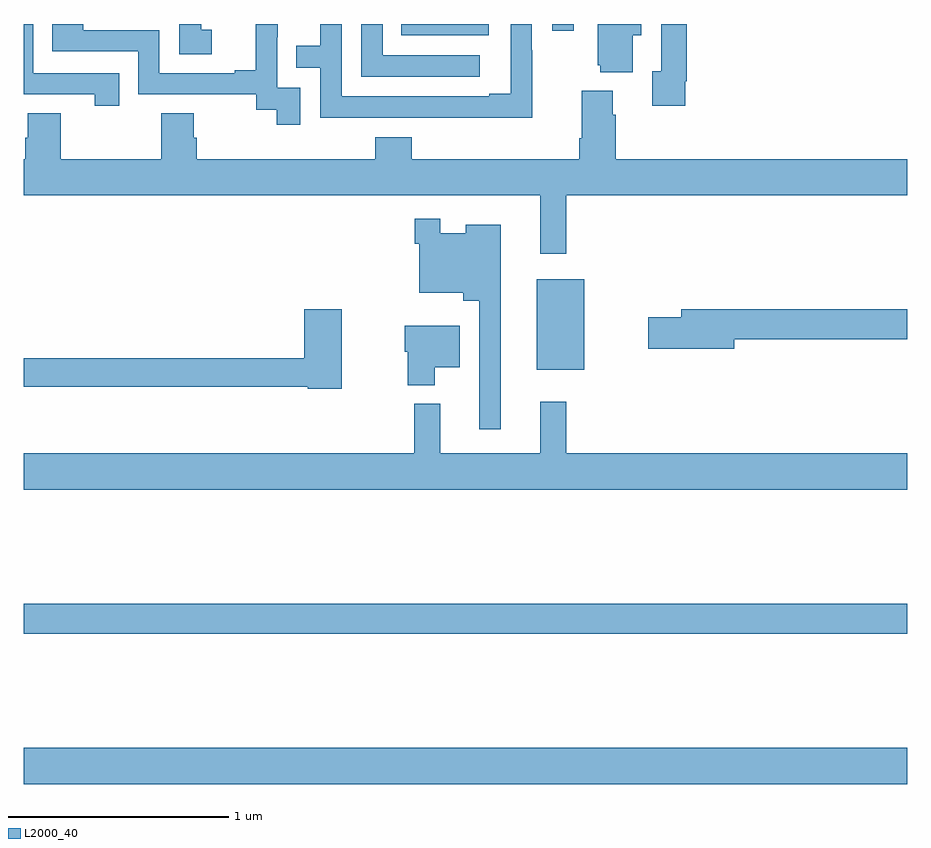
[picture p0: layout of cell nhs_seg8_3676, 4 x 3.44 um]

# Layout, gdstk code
import gdstk
lib = gdstk.Library(unit=1e-6, precision=1e-09)
def R(c, l, rs):  # rectangles x0, y0, x1, y1
    for r in rs: c.add(gdstk.rectangle(r[:2], r[2:], *l))
def P(c, l, *ps):  # polygons
    for p in ps: c.add(gdstk.Polygon(p, *l))
L2000_40 = (2000, 40)

nhs_seg8_3676 = lib.new_cell('nhs_seg8_3676')
R(nhs_seg8_3676, L2000_40, [(337,1156.46,341,1156.624), (337,1157.14,341,1157.276), (339.323,1158.335,339.538,1158.745), (338.71,1159.85,339.106,1159.9), (339.393,1159.869,339.489,1159.9)])
P(nhs_seg8_3676, L2000_40, [(337.852,1159.873),(337.803,1159.873),(337.803,1159.9),(337.704,1159.9),(337.704,1159.764),(337.852,1159.764)],
  [(338.253,1159.611),(338.148,1159.611),(338.148,1159.841),(338.15,1159.841),(338.15,1159.9),(338.051,1159.9),(338.051,1159.69),(337.955,1159.69),(337.955,1159.677),(337.614,1159.677),(337.614,1159.872),(337.269,1159.872),(337.269,1159.899),(337.129,1159.899),(337.129,1159.776),(337.518,1159.776),(337.518,1159.581),(338.052,1159.581),(338.052,1159.513),(338.145,1159.513),(338.145,1159.443),(338.253,1159.443)],
  [(337.433,1159.677),(337.044,1159.677),(337.044,1159.9),(337,1159.9),(337,1159.581),(337.322,1159.581),(337.322,1159.53),(337.433,1159.53)],
  [(339.994,1159.642),(340.001,1159.642),(340.001,1159.9),(339.885,1159.9),(339.885,1159.686),(339.845,1159.686),(339.845,1159.53),(339.994,1159.53)],
  [(339.303,1159.781),(339.3,1159.781),(339.3,1159.9),(339.204,1159.9),(339.204,1159.585),(339.107,1159.585),(339.107,1159.572),(338.439,1159.572),(338.439,1159.9),(338.343,1159.9),(338.343,1159.802),(338.233,1159.802),(338.233,1159.701),(338.343,1159.701),(338.343,1159.476),(338.839,1159.476),(338.839,1159.475),(339.303,1159.475)],
  [(339.064,1159.758),(338.625,1159.758),(338.625,1159.9),(338.529,1159.9),(338.529,1159.662),(339.064,1159.662)],
  [(339.757,1159.85),(339.796,1159.85),(339.796,1159.9),(339.599,1159.9),(339.599,1159.713),(339.611,1159.713),(339.611,1159.682),(339.757,1159.682)],
  [(341,1159.288),(339.68,1159.288),(339.68,1159.49),(339.667,1159.49),(339.667,1159.597),(339.527,1159.597),(339.527,1159.384),(339.515,1159.384),(339.515,1159.288),(338.756,1159.288),(338.756,1159.387),(338.591,1159.387),(338.591,1159.288),(337.784,1159.288),(337.784,1159.386),(337.771,1159.386),(337.771,1159.496),(337.624,1159.496),(337.624,1159.288),(337.167,1159.288),(337.167,1159.496),(337.019,1159.496),(337.019,1159.386),(337.007,1159.386),(337.007,1159.288),(337,1159.288),(337,1159.124),(339.338,1159.124),(339.338,1158.861),(339.455,1158.861),(339.455,1159.124),(341,1159.124)],
  [(339.16,1158.991),(339.002,1158.991),(339.002,1158.952),(338.886,1158.952),(338.886,1159.018),(338.77,1159.018),(338.77,1158.905),(338.79,1158.905),(338.79,1158.683),(338.99,1158.683),(338.99,1158.647),(339.063,1158.647),(339.063,1158.066),(339.16,1158.066)],
  [(338.44,1158.61),(338.27,1158.61),(338.27,1158.386),(337,1158.386),(337,1158.258),(338.286,1158.258),(338.286,1158.25),(338.44,1158.25)],
  [(340.216,1158.472),(341,1158.472),(341,1158.608),(339.977,1158.608),(339.977,1158.572),(339.828,1158.572),(339.828,1158.43),(340.216,1158.43)],
  [(338.86,1158.347),(338.974,1158.347),(338.974,1158.535),(338.726,1158.535),(338.726,1158.417),(338.738,1158.417),(338.738,1158.266),(338.86,1158.266)],
  [(341,1157.956),(339.455,1157.956),(339.455,1158.19),(339.338,1158.19),(339.338,1157.956),(338.885,1157.956),(338.885,1158.181),(338.767,1158.181),(338.767,1157.956),(337,1157.956),(337,1157.792),(341,1157.792)])

lib.write_gds('nhs_seg8_3676.gds')
